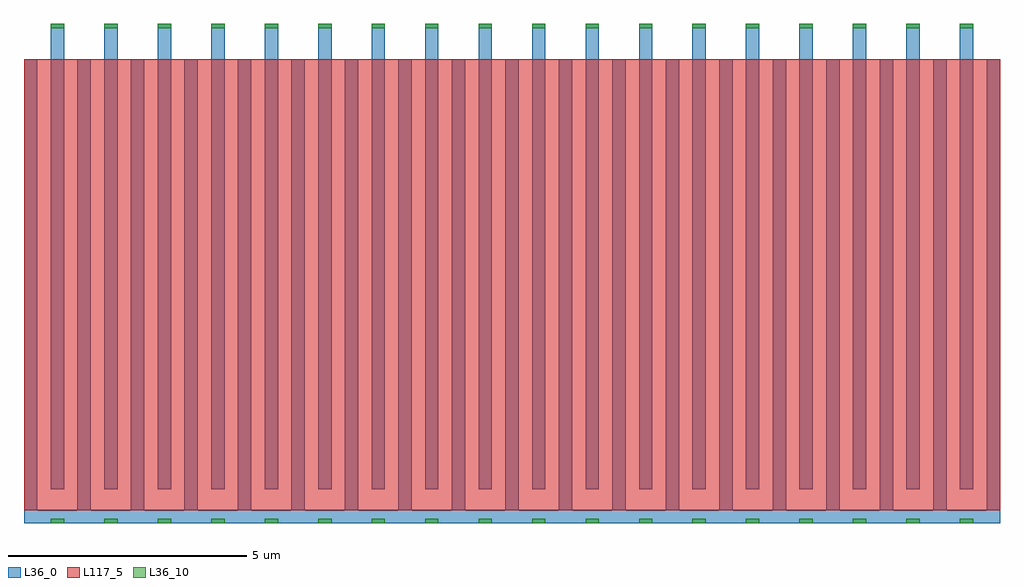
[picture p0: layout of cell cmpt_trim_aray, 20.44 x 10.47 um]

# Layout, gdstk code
import gdstk
lib = gdstk.Library(unit=1e-6, precision=1e-09)
def R(c, l, rs):  # rectangles x0, y0, x1, y1
    for r in rs: c.add(gdstk.rectangle(r[:2], r[2:], *l))
L36_0 = (36, 0)
L36_10 = (36, 10)
L117_5 = (117, 5)

cmpt_c0 = lib.new_cell('cmpt_C0')
R(cmpt_c0, L36_0, [(2.1,-0.72,3.5,-0.44), (2.1,-0.44,2.38,9), (2.1,-0.44,2.38,9), (3.22,-0.44,3.5,9), (3.22,-0.44,3.5,9), (2.66,0,2.94,9.75)])
R(cmpt_c0, L36_10, [(2.66,-0.72,2.94,-0.62), (2.66,9.65,2.94,9.75)])
R(cmpt_c0, L117_5, [(2.1,-0.44,3.5,9)])
cmpt_c0.add(gdstk.Label('in', (2.8,9.7), layer=36, texttype=10))
cmpt_c0.add(gdstk.Label('out', (2.8,-0.67), layer=36, texttype=10))

cmpt_trim_aray = lib.new_cell('cmpt_trim_aray')
cmpt_trim_aray.add(gdstk.Reference(cmpt_c0, (0,0)))
cmpt_trim_aray.add(gdstk.Reference(cmpt_c0, (1.12,0)))
cmpt_trim_aray.add(gdstk.Reference(cmpt_c0, (2.24,0)))
cmpt_trim_aray.add(gdstk.Reference(cmpt_c0, (3.36,0)))
cmpt_trim_aray.add(gdstk.Reference(cmpt_c0, (4.48,0)))
cmpt_trim_aray.add(gdstk.Reference(cmpt_c0, (5.6,0)))
cmpt_trim_aray.add(gdstk.Reference(cmpt_c0, (6.72,0)))
cmpt_trim_aray.add(gdstk.Reference(cmpt_c0, (7.84,0)))
cmpt_trim_aray.add(gdstk.Reference(cmpt_c0, (8.96,0)))
cmpt_trim_aray.add(gdstk.Reference(cmpt_c0, (10.08,0)))
cmpt_trim_aray.add(gdstk.Reference(cmpt_c0, (11.2,0)))
cmpt_trim_aray.add(gdstk.Reference(cmpt_c0, (12.32,0)))
cmpt_trim_aray.add(gdstk.Reference(cmpt_c0, (13.44,0)))
cmpt_trim_aray.add(gdstk.Reference(cmpt_c0, (14.56,0)))
cmpt_trim_aray.add(gdstk.Reference(cmpt_c0, (15.68,0)))
cmpt_trim_aray.add(gdstk.Reference(cmpt_c0, (16.8,0)))
cmpt_trim_aray.add(gdstk.Reference(cmpt_c0, (17.92,0)))
cmpt_trim_aray.add(gdstk.Reference(cmpt_c0, (19.04,0)))

lib.write_gds('cmpt_trim_aray.gds')
